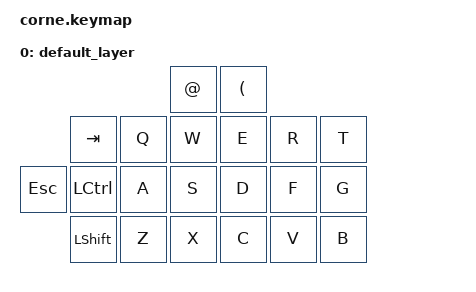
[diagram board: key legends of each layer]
/*
 * Copyright (c) 2020 The ZMK Contributors
 *
 * SPDX-License-Identifier: MIT
 */

#include <behaviors.dtsi>
#include <dt-bindings/zmk/keys.h>
#include <dt-bindings/zmk/bt.h>

/ {
        keymap {
                compatible = "zmk,keymap";

                default_layer {
// -----------------------------------------------------------------------------------------
//        |  TAB |  Q  |  W  |  E  |  R  |  T  |   |  Y  |  U   |  I  |  O  |  P  | BSPC |
// | ESC  | CTRL |  A  |  S  |  D  |  F  |  G  |   |  H  |  J   |  K  |  L  |  ;  |  '   |  ENTER  |
//        | SHFT |  Z  |  X  |  C  |  V  |  B  |   |  N  |  M   |  ,  |  .  |  /  
//                    | GUI | LWR | SPC |   | ENT | RSE  | ALT |
                        bindings = <
                        &kp AT  &kp LPAR
        &kp TAB   &kp Q &kp W   &kp E &kp R &kp T 
&kp ESC &kp LCTRL &kp A &kp S   &kp D &kp F &kp G 
        &kp LSHFT &kp Z &kp X   &kp C &kp V &kp B   
                        >;
                };
        };
};
